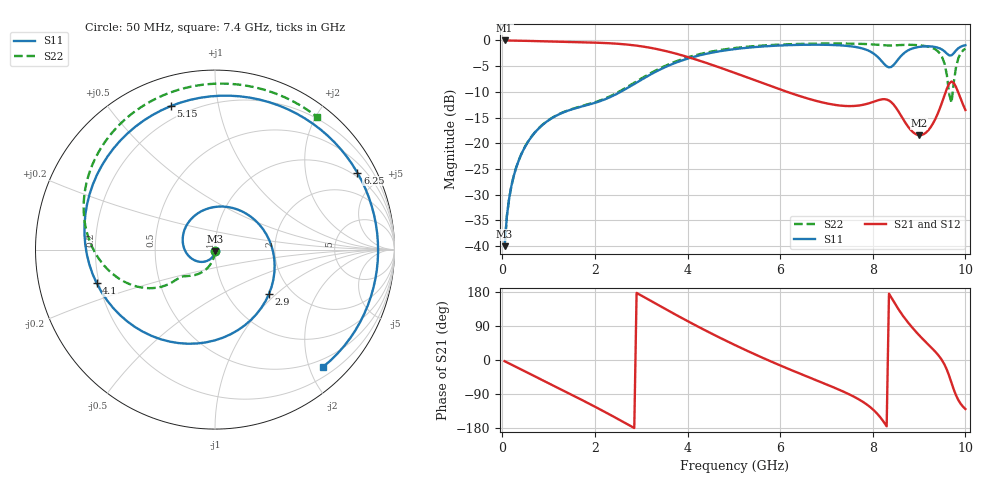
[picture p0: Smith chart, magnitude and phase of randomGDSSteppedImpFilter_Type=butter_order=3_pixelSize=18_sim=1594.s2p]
! freq	dB(S11)	phase(S11)	dB(S12)	phase(S12)
!  dB(S21)	phase(S21)	dB(S22)	phase(S22)
!S-par simulation data
#  GHz  S  DB  R 50
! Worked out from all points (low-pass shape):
!   200 points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, 50 MHz to 10 GHz, reference 50 ohm
!   highest |S21| = -0.01 dB at 50 MHz (marker M1); lowest = -18.4 dB at 9 GHz (marker M2)
!   |S21| within 3 dB of the highest: start of sweep to 3.923 GHz
!   lowest |S11| = -40.0 dB at 50 MHz (marker M3), VSWR 1.02, Z = 49.9 - j0.997 ohm
!   |S11| at or under -10 dB: start of sweep to 2.555 GHz
!   |S22| runs from -40.0 to -0.6 dB; largest |S21 - S12| = 0
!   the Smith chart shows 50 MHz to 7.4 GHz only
!   S11 on the Smith chart (normalised r, x): 50 MHz: 1.00, -0.02; 2.9 GHz: 1.54, -0.90; 4.1 GHz: 0.19, -0.13; 5.15 GHz: 0.14, +0.73; 6.25 GHz: 0.83, +3.79; 7.4 GHz: 0.36, -2.22
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0.05  -40.01 -92.3  -0.01 -3.1  -0.01 -3.1  -39.96 -90.5
0.2  -28.17 -107.1  -0.03 -12.4  -0.03 -12.4  -28.13 -97.4
0.5  -20.55 -133.4  -0.08 -30.8  -0.08 -30.8  -20.50 -108.9
1.75  -12.77 104.1  -0.37 -107.4  -0.37 -107.4  -12.69 -140.0
2.9  -8.19 -39.6  -1.01 177.0  -1.01 177.0  -7.96 -147.7
3.4  -5.69 -95.6  -1.80 142.8  -1.80 142.8  -5.45 -160.3
4.1  -3.28 -164.1  -3.49 96.2  -3.49 96.2  -3.04 175.3
5.05  -1.65 115.0  -6.41 37.9  -6.41 37.9  -1.45 139.8
5.15  -1.55 107.2  -6.74 32.2  -6.74 32.2  -1.35 136.1
6.25  -0.90 28.4  -10.31 -27.1  -10.31 -27.1  -0.72 95.5
6.7  -0.83 -0.7  -11.57 -49.5  -11.57 -49.5  -0.63 78.8
7.4  -1.03 -47.5  -12.75 -85.4  -12.75 -85.4  -0.61 52.3
7.95  -2.18 -104.1  -12.14 -124.8  -12.14 -124.8  -0.75 31.0
8.2  -4.11 -160.8  -11.45 -157.2  -11.45 -157.2  -0.92 21.6
8.35  -5.25 139.1  -11.68 175.1  -11.68 175.1  -0.98 16.4
8.5  -4.24 73.6  -13.07 144.6  -13.07 144.6  -0.95 11.2
8.65  -2.67 28.2  -15.23 116.9  -15.23 116.9  -0.87 5.1
9  -1.26 -26.3  -18.43 65.5  -18.43 65.5  -0.94 -11.5
9.45  -1.56 -62.6  -13.18 7.3  -13.18 7.3  -2.54 -42.5
9.65  -2.91 -68.2  -8.40 -41.9  -8.40 -41.9  -10.41 -50.8
9.8  -1.93 -65.3  -9.11 -93.8  -9.11 -93.8  -5.07 6.4
10  -0.93 -77.2  -13.53 -129.3  -13.53 -129.3  -1.60 -17.3
